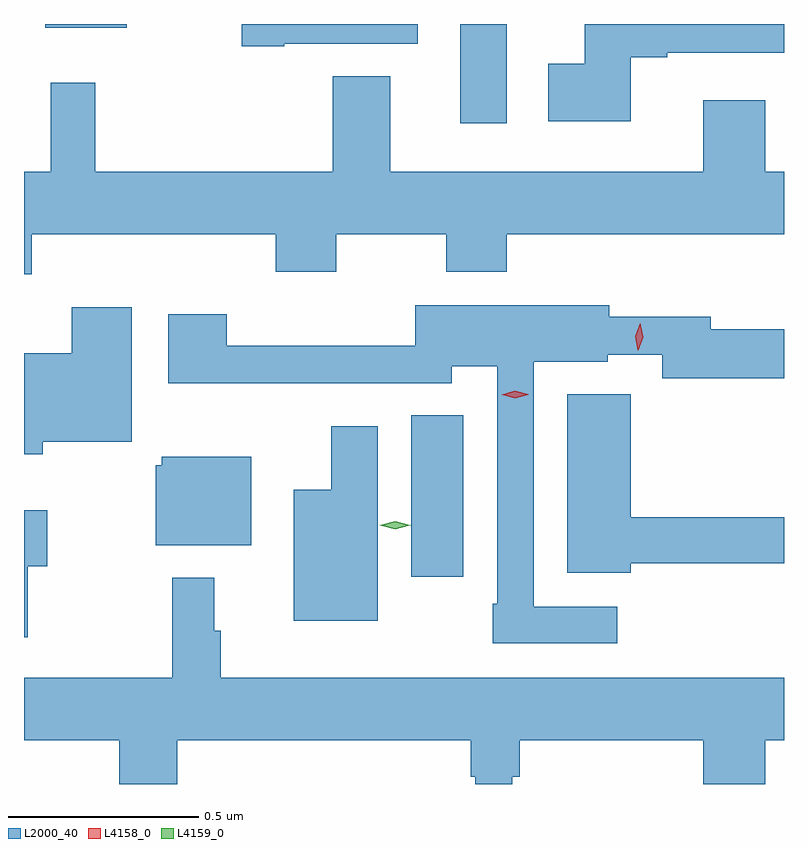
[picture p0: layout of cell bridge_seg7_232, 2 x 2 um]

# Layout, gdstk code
import gdstk
lib = gdstk.Library(unit=1e-6, precision=1e-09)
def R(c, l, rs):  # rectangles x0, y0, x1, y1
    for r in rs: c.add(gdstk.rectangle(r[:2], r[2:], *l))
def P(c, l, *ps):  # polygons
    for p in ps: c.add(gdstk.Polygon(p, *l))
L2000_40 = (2000, 40)
L4158_0 = (4158, 0)
L4159_0 = (4159, 0)

bridge_seg7_232 = lib.new_cell('bridge_seg7_232')
R(bridge_seg7_232, L2000_40, [(296.108,999.714,296.245,1000.139), (296.237,1000.908,296.359,1001.169), (295.145,1001.159,295.36,1001.169)])
P(bridge_seg7_232, L2000_40, [(296.686,1001.082),(296.782,1001.082),(296.782,1001.094),(297.089,1001.094),(297.089,1001.169),(296.564,1001.169),(296.564,1001.065),(296.469,1001.065),(296.469,1000.913),(296.686,1000.913)],
  [(295.774,1001.117),(296.125,1001.117),(296.125,1001.169),(295.662,1001.169),(295.662,1001.11),(295.774,1001.11)],
  [(295.109,1000.616),(295.751,1000.616),(295.751,1000.517),(295.911,1000.517),(295.911,1000.616),(296.2,1000.616),(296.2,1000.517),(296.36,1000.517),(296.36,1000.616),(297.089,1000.616),(297.089,1000.78),(297.04,1000.78),(297.04,1000.969),(296.876,1000.969),(296.876,1000.78),(296.053,1000.78),(296.053,1001.032),(295.901,1001.032),(295.901,1000.78),(295.277,1000.78),(295.277,1001.014),(295.16,1001.014),(295.16,1000.78),(295.089,1000.78),(295.089,1000.51),(295.109,1000.51)],
  [(296.65,999.636),(296.43,999.636),(296.43,1000.28),(296.625,1000.28),(296.625,1000.299),(296.768,1000.299),(296.768,1000.237),(297.089,1000.237),(297.089,1000.366),(296.896,1000.366),(296.896,1000.398),(296.629,1000.398),(296.629,1000.429),(296.118,1000.429),(296.118,1000.322),(295.622,1000.322),(295.622,1000.405),(295.469,1000.405),(295.469,1000.223),(295.705,1000.223),(295.705,1000.224),(296.214,1000.224),(296.214,1000.268),(296.334,1000.268),(296.334,999.643),(296.322,999.643),(296.322,999.54),(296.65,999.54)],
  [(295.138,1000.07),(295.372,1000.07),(295.372,1000.423),(295.214,1000.423),(295.214,1000.303),(295.089,1000.303),(295.089,1000.037),(295.138,1000.037)],
  [(296.686,999.75),(297.089,999.75),(297.089,999.871),(296.686,999.871),(296.686,1000.195),(296.519,1000.195),(296.519,999.725),(296.686,999.725)],
  [(296.02,1000.111),(295.898,1000.111),(295.898,999.943),(295.799,999.943),(295.799,999.599),(296.02,999.599)],
  [(295.687,1000.03),(295.452,1000.03),(295.452,1000.008),(295.436,1000.008),(295.436,999.797),(295.687,999.797)],
  [(295.099,999.742),(295.15,999.742),(295.15,999.889),(295.089,999.889),(295.089,999.555),(295.099,999.555)],
  [(295.589,999.572),(295.589,999.712),(295.479,999.712),(295.479,999.448),(295.089,999.448),(295.089,999.284),(295.34,999.284),(295.34,999.169),(295.492,999.169),(295.492,999.284),(296.264,999.284),(296.264,999.188),(296.277,999.188),(296.277,999.169),(296.374,999.169),(296.374,999.188),(296.393,999.188),(296.393,999.284),(296.876,999.284),(296.876,999.169),(297.04,999.169),(297.04,999.284),(297.089,999.284),(297.089,999.448),(295.607,999.448),(295.607,999.572)])
P(bridge_seg7_232, L4158_0, [(296.704,1000.31),(296.704,1000.31),(296.698,1000.347),(296.711,1000.382),(296.711,1000.382),(296.711,1000.382),(296.718,1000.345),(296.705,1000.31)],
  [(296.382,1000.184),(296.346,1000.193),(296.346,1000.193),(296.346,1000.194),(296.381,1000.204),(296.416,1000.195),(296.416,1000.195),(296.416,1000.194)])
P(bridge_seg7_232, L4159_0, [(296.066,999.84),(296.025,999.85),(296.025,999.85),(296.025,999.85),(296.066,999.86),(296.106,999.85),(296.107,999.85),(296.106,999.85)])

lib.write_gds('bridge_seg7_232.gds')
